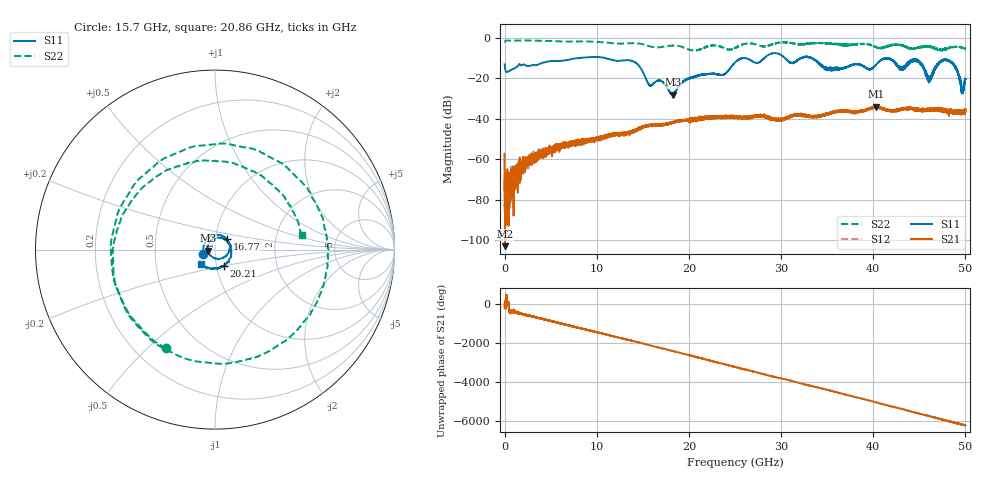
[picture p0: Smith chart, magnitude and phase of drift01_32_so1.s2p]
!Created with skrf (http://scikit-rf.org).
# Hz S RI R 50.0
!freq ReS11 ImS11 ReS21 ImS21 ReS12 ImS12 ReS22 ImS22
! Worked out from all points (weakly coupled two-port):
!   10001 points, 300 kHz to 50 GHz, reference 50 ohm
!   highest |S21| = -34.01 dB at 40.35 GHz (marker M1); lowest = -103.0 dB at 40.3 MHz (marker M2)
!   lowest |S11| = -28.1 dB at 18.29 GHz (marker M3), VSWR 1.08, Z = 46.2 - j0.511 ohm
!   |S11| at or under -10 dB: start of sweep to 8.05 GHz; 10.89 GHz to 26 GHz (15.11 GHz wide, 81.9 % of centre); 33.28 GHz to end of sweep (the widest 3 of 12)
!   |S22| runs from -6.4 to -1.4 dB; largest |S21 - S12| = 0.0043
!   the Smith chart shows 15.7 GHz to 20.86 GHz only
!   S11 on the Smith chart (normalised r, x): 15.7 GHz: 0.88, -0.04; 16.77 GHz: 1.13, +0.13; 20.21 GHz: 1.08, -0.20; 20.86 GHz: 0.84, -0.14
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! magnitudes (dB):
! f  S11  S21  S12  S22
! 300 kHz  -13.1  -57.5  -56.7  -2.1
! 40.3 MHz  -14.5  -103.0  -86.1  -1.7
! 260.3 MHz  -16.9  -81.9  -77.9  -1.4
! 3.005 GHz  -13.5  -61.3  -61.5  -1.4
! 8.335 GHz  -9.9  -50.6  -51.9  -1.8
! 13.89 GHz  -11.5  -46.5  -46.3  -2.7
! 15.7 GHz  -23.3  -43.6  -43.5  -4.3
! 16.67 GHz  -21.1  -42.9  -42.9  -4.8
! 16.77 GHz  -21.2  -42.9  -42.9  -4.7
! 18.29 GHz  -28.1  -41.8  -41.9  -3.9
! 20.21 GHz  -19.7  -40.7  -40.8  -6.1
! 20.86 GHz  -18.8  -40.9  -40.3  -6.2
! 25 GHz  -12.2  -39.3  -39.2  -5.1
! 33.34 GHz  -10.1  -38.9  -39.4  -2.7
! 35.25 GHz  -15.1  -37.4  -37.4  -2.9
! 40.35 GHz  -13.2  -34.0  -34.5  -4.7
! 41.67 GHz  -10.3  -36.1  -35.7  -4.3
! 44.8 GHz  -11.4  -35.1  -35.7  -4.9
! 46.1 GHz  -20.9  -35.4  -35.7  -4.3
! 48.04 GHz  -11.3  -36.1  -35.8  -5.2
! 49.64 GHz  -24.5  -37.2  -35.8  -4.8
! 50 GHz  -20.3  -36.4  -36.4  -5.4
